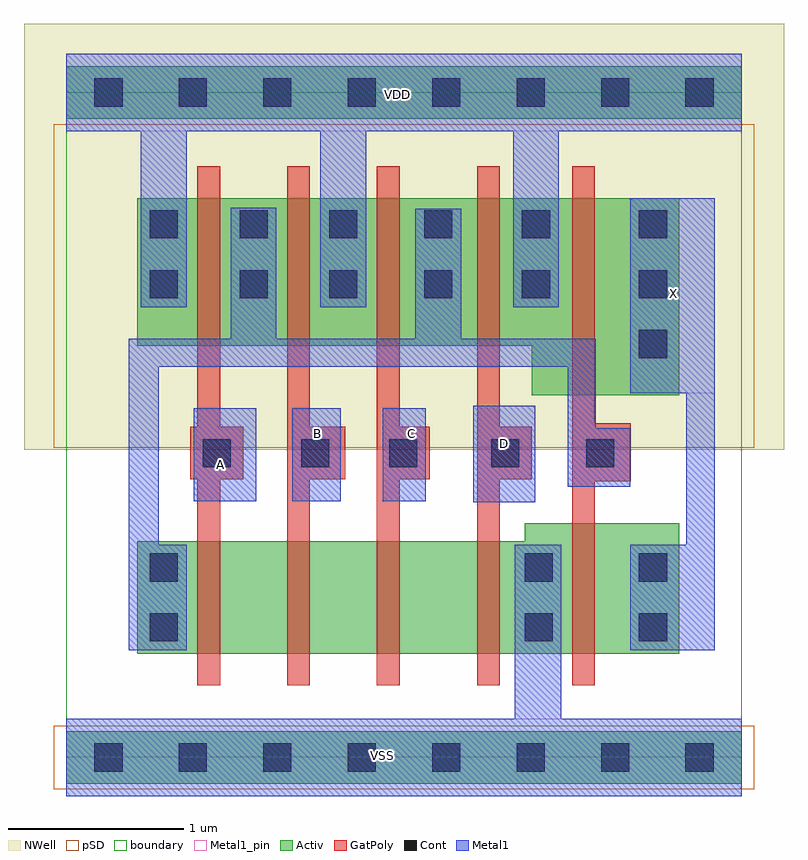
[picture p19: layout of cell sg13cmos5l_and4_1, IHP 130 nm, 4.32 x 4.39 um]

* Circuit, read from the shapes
.subckt sg13cmos5l_and4_1 A B C D VDD VSS X
XM1 n1 A n2 VSS sg13_lv_nmos w=0.64u l=0.13u
XM2 n3 B n1 VSS sg13_lv_nmos w=0.64u l=0.13u
XM3 n4 C n3 VSS sg13_lv_nmos w=0.64u l=0.13u
XM4 VSS D n4 VSS sg13_lv_nmos w=0.64u l=0.13u
XM5 X n2 VSS VSS sg13_lv_nmos w=0.74u l=0.13u
XM6 n2 A VDD VDD sg13_lv_pmos w=0.84u l=0.13u
XM7 VDD B n2 VDD sg13_lv_pmos w=0.84u l=0.13u
XM8 n2 C VDD VDD sg13_lv_pmos w=0.84u l=0.13u
XM9 VDD D n2 VDD sg13_lv_pmos w=0.84u l=0.13u
XM10 X n2 VDD VDD sg13_lv_pmos w=1.12u l=0.13u
.ends

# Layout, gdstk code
import gdstk
lib = gdstk.Library(unit=1e-6, precision=1e-09)
def R(c, l, rs):  # rectangles x0, y0, x1, y1
    for r in rs: c.add(gdstk.rectangle(r[:2], r[2:], *l))
def A(c, l, x, y, w, h, nx, ny, dx, dy):  # array of equal rectangles
    R(c, l, [(x+i*dx, y+j*dy, x+i*dx+w, y+j*dy+h) for i in range(nx) for j in range(ny)])
def P(c, l, *ps):  # polygons
    for p in ps: c.add(gdstk.Polygon(p, *l))
Activ = (1, 0)
GatPoly = (5, 0)
Cont = (6, 0)
Metal1 = (8, 0)
Metal1_pin = (8, 2)
pSD = (14, 0)
NWell = (31, 0)
boundary = (189, 4)

sg13cmos5l_and4_1 = lib.new_cell('sg13cmos5l_and4_1')
R(sg13cmos5l_and4_1, Activ, [(0,-0.15,3.84,0.15), (0,3.63,3.84,3.93)])
P(sg13cmos5l_and4_1, Activ, [(0.405,0.59),(0.405,1.23),(2.605,1.23),(2.605,1.33),(3.485,1.33),(3.485,0.59)],
  [(2.645,2.06),(2.645,2.34),(0.405,2.34),(0.405,3.18),(3.485,3.18),(3.485,2.06)])
P(sg13cmos5l_and4_1, GatPoly, [(2.875,0.41),(2.875,3.36),(3.005,3.36),(3.005,1.9),(3.21,1.9),(3.21,1.57),(3.005,1.57),(3.005,0.41)],
  [(0.745,0.41),(0.745,1.58),(0.705,1.58),(0.705,1.88),(0.745,1.88),(0.745,3.36),(0.875,3.36),(0.875,1.88),(1.005,1.88),(1.005,1.58),(0.875,1.58),(0.875,0.41)],
  [(1.255,0.41),(1.255,3.36),(1.385,3.36),(1.385,1.88),(1.585,1.88),(1.585,1.58),(1.385,1.58),(1.385,0.41)],
  [(1.765,0.41),(1.765,3.36),(1.895,3.36),(1.895,1.88),(2.065,1.88),(2.065,1.58),(1.895,1.58),(1.895,0.41)],
  [(2.335,0.41),(2.335,3.36),(2.465,3.36),(2.465,1.88),(2.645,1.88),(2.645,1.58),(2.465,1.58),(2.465,0.41)])
A(sg13cmos5l_and4_1, Cont, 0.16, -0.08, 0.16, 0.16, 8, 2, 0.48, 3.78)
A(sg13cmos5l_and4_1, Cont, 3.255, 2.27, 0.16, 0.16, 1, 3, 0, 0.34)
A(sg13cmos5l_and4_1, Cont, 0.475, 2.61, 0.16, 0.16, 3, 2, 0.51, 0.34)
R(sg13cmos5l_and4_1, Cont, [(0.475,0.66,0.635,0.82), (2.605,0.66,2.765,0.82), (3.255,0.66,3.415,0.82), (0.475,1,0.635,1.16), (2.605,1,2.765,1.16), (3.255,1,3.415,1.16), (0.775,1.65,0.935,1.81), (1.335,1.65,1.495,1.81), (1.835,1.65,1.995,1.81), (2.415,1.65,2.575,1.81), (2.955,1.65,3.115,1.81), (2.035,2.61,2.195,2.77), (2.59,2.61,2.75,2.77), (2.035,2.95,2.195,3.11), (2.59,2.95,2.75,3.11)])
R(sg13cmos5l_and4_1, Metal1, [(2.315,1.45,2.665,2), (0.725,1.455,1.08,1.985), (1.285,1.455,1.56,1.985), (1.8,1.455,2.045,1.985)])
P(sg13cmos5l_and4_1, Metal1, [(0,-0.22),(0,0.22),(2.55,0.22),(2.55,1.21),(2.815,1.21),(2.815,0.22),(3.84,0.22),(3.84,-0.22)],
  [(0.425,2.56),(0.425,3.56),(0,3.56),(0,4),(3.84,4),(3.84,3.56),(2.8,3.56),(2.8,2.56),(2.54,2.56),(2.54,3.56),(1.705,3.56),(1.705,2.56),(1.445,2.56),(1.445,3.56),(0.685,3.56),(0.685,2.56)],
  [(3.205,0.61),(3.205,1.21),(3.525,1.21),(3.525,2.07),(3.205,2.07),(3.205,3.18),(3.685,3.18),(3.685,0.61)],
  [(0.355,0.61),(0.355,2.38),(0.935,2.38),(0.935,3.125),(1.195,3.125),(1.195,2.38),(1.985,2.38),(1.985,3.12),(2.245,3.12),(2.245,2.38),(3.01,2.38),(3.01,1.87),(3.205,1.87),(3.205,1.54),(2.85,1.54),(2.85,2.22),(0.525,2.22),(0.525,1.21),(0.685,1.21),(0.685,0.61)])
R(sg13cmos5l_and4_1, Metal1_pin, [(0,-0.22,3.84,0.22), (2.315,1.45,2.665,2), (0.725,1.455,1.08,1.985), (1.285,1.455,1.56,1.985), (1.8,1.455,2.045,1.985), (3.205,2.07,3.685,3.18), (0,3.56,3.84,4)])
R(sg13cmos5l_and4_1, pSD, [(-0.07,-0.18,3.91,0.18), (-0.07,1.76,3.91,3.6)])
R(sg13cmos5l_and4_1, NWell, [(-0.24,1.75,4.08,4.17)])
R(sg13cmos5l_and4_1, boundary, [(0,0,3.84,3.78)])
sg13cmos5l_and4_1.add(gdstk.Label('X', (3.45,2.64), layer=8, texttype=25))
sg13cmos5l_and4_1.add(gdstk.Label('B', (1.43,1.84), layer=8, texttype=25))
sg13cmos5l_and4_1.add(gdstk.Label('A', (0.875,1.665), layer=8, texttype=25))
sg13cmos5l_and4_1.add(gdstk.Label('VDD', (1.885,3.77), layer=8, texttype=25))
sg13cmos5l_and4_1.add(gdstk.Label('VSS', (1.795,0.01), layer=8, texttype=25))
sg13cmos5l_and4_1.add(gdstk.Label('C', (1.965,1.84), layer=8, texttype=25))
sg13cmos5l_and4_1.add(gdstk.Label('D', (2.49,1.785), layer=8, texttype=25))

lib.write_gds('sg13cmos5l_and4_1.gds')
